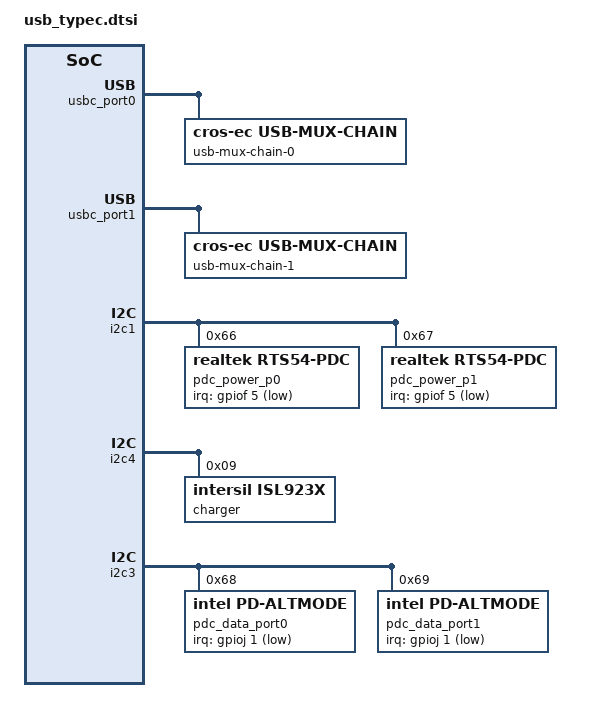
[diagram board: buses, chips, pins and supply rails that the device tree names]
/*
 * Copyright 2023 The ChromiumOS Authors
 *
 * SPDX-License-Identifier: Apache-2.0
 */

 /{
	usbc {
		#address-cells = <1>;
		#size-cells = <0>;
		usbc_port0: port0@0 {
			compatible = "named-usbc-port";
			reg = <0>;
			chg = <&charger>;
			alt-mode = <&pdc_data_port0>;
			pdc = <&pdc_power_p0>;
			usb-mux-chain-0 {
				compatible = "cros-ec,usb-mux-chain";
				usb-muxes = <&virtual_mux_0>;
			};
		};
		port0-muxes {
			virtual_mux_0: virtual-mux-0 {
				compatible = "cros-ec,usbc-mux-virtual";
			};
		};
		usbc_port1: port0@1 {
			compatible = "named-usbc-port";
			reg = <1>;
			alt-mode = <&pdc_data_port1>;
			pdc = <&pdc_power_p1>;
			usb-mux-chain-1 {
				compatible = "cros-ec,usb-mux-chain";
				usb-muxes = <&virtual_mux_1>;
			};
		};
		port1-muxes {
			virtual_mux_1: virtual-mux-1 {
				compatible = "cros-ec,usbc-mux-virtual";
			};
		};
	};
};

&i2c1 {
	pdc_power_p0: rts54-pdc@66 {
		compatible = "realtek,rts54-pdc";
		reg = <0x66>;
		irq-gpios = <&gpiof 5 GPIO_ACTIVE_LOW>;
	};
	pdc_power_p1: rts54-pdc@67 {
		compatible = "realtek,rts54-pdc";
		reg = <0x67>;
		irq-gpios = <&gpiof 5 GPIO_ACTIVE_LOW>;
	};
};

&i2c4 {
	charger: isl9238@9 {
		compatible = "intersil,isl923x";
		status = "okay";
		reg = <0x9>;
	};
};

/* pd-aic-data */
&i2c3 {
	pdc_data_port0: rts@68 {
		compatible = "intel,pd-altmode";
		reg = <0x68>;
		irq-gpios = <&gpioj 1 GPIO_ACTIVE_LOW>;
	};
	pdc_data_port1: rts@69 {
		compatible = "intel,pd-altmode";
		reg = <0x69>;
		irq-gpios = <&gpioj 1 GPIO_ACTIVE_LOW>;
		irq-shared;
	};
};
